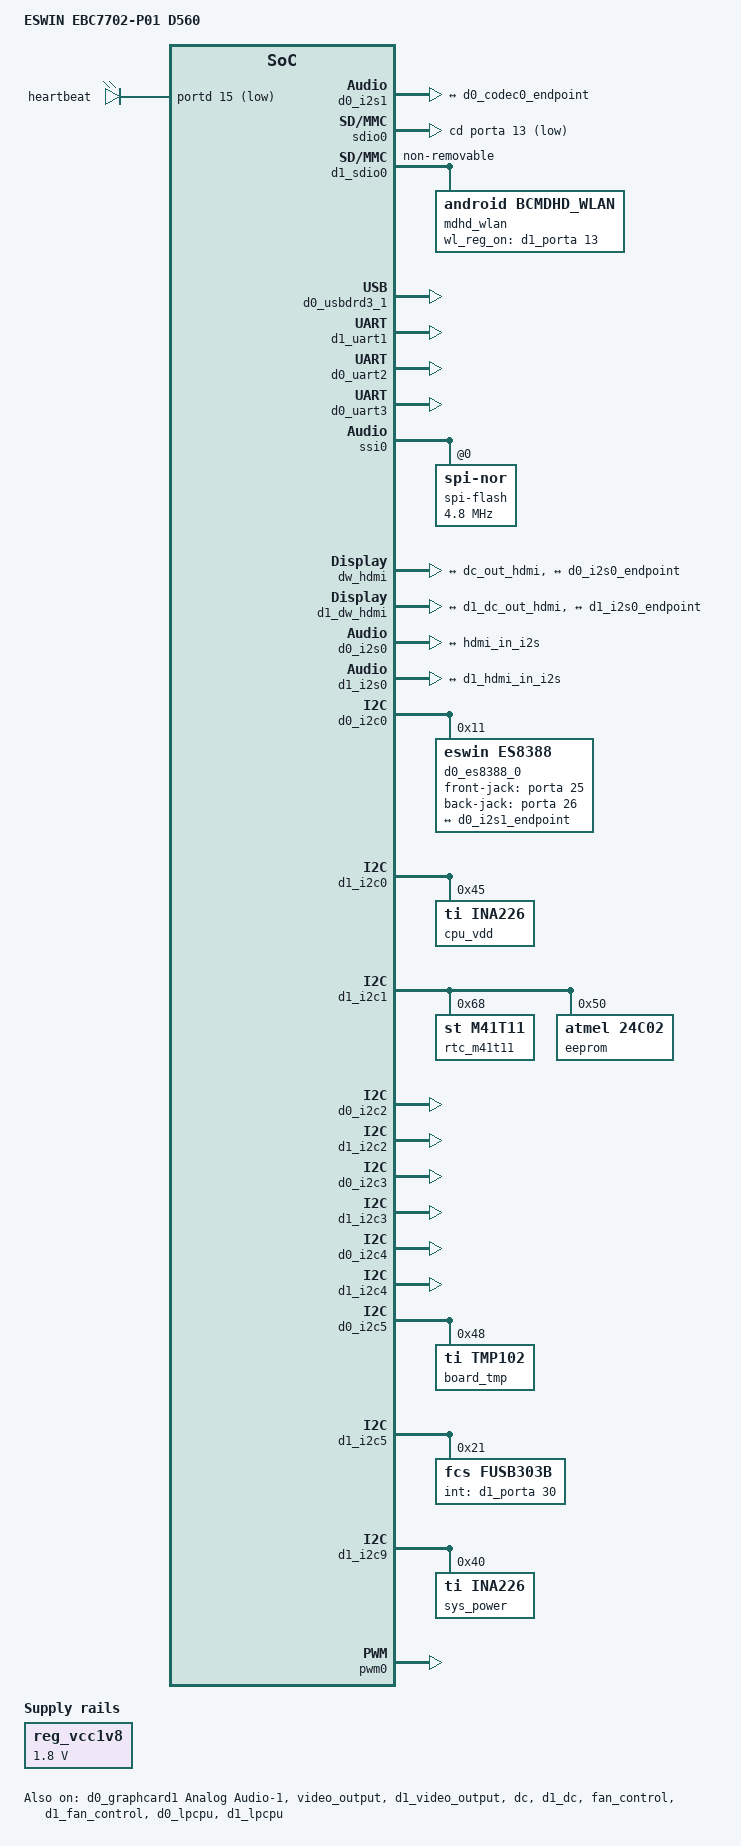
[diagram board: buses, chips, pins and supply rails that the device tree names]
// SPDX-License-Identifier: GPL-2.0
/*
 * Device Tree file for Eswin EIC7702 SoC.
 *
 * Copyright 2024, Beijing ESWIN Computing Technology Co., Ltd.. All rights reserved.
 * SPDX-License-Identifier: GPL-2.0
 *
 * This program is free software: you can redistribute it and/or modify
 * it under the terms of the GNU General Public License as published by
 * the Free Software Foundation, version 2.
 *
 * This program is distributed in the hope that it will be useful,
 * but WITHOUT ANY WARRANTY; without even the implied warranty of
 * MERCHANTABILITY or FITNESS FOR A PARTICULAR PURPOSE.  See the
 * GNU General Public License for more details.
 *
 * You should have received a copy of the GNU General Public License
 * along with this program.  If not, see <https://www.gnu.org/licenses/>.
 */

/dts-v1/;

#include "eic7702-som560.dtsi"

/ {
	#address-cells = <2>;
	#size-cells = <2>;
	model = "ESWIN EBC7702-P01 D560";

	reserved-memory {

		rpc_reserved:rpc_reserved@100000000 {
			reg = <0x1 0x0 0 0x1000>;
			no-map;
		};

		commu_reserved:commu_reserved@100001000 {
			reg = <0x1 0x1000 0 0x10000>;
			no-map;
		};

		kernel_debug_reserved:kernel_debug_reserved@100011000 {
			reg = <0x1 0x11000 0 0x100000>;
			no-map;
		};

		pgretire_reserved:pgretire_reserved@100111000 {
			reg = <0x1 0x111000 0 0x100000>;
			no-map;
		};

		configs_reserved:configs_reserved@100211000 {
			reg = <0x10 0x211000 0 0x1000>;
			no-map;
		};

		ipcm_vdev0vring0:vdev0vring0@100212000 {
			reg = <0x1 0x212000 0 0x100000>;
			no-map;
		};

		ipcm_vdev0vring1:vdev0vring1@100312000 {
			reg = <0x1 0x312000 0 0x100000>;
			no-map;
		};

		ipcm_vdev0buffer:vdev0buffer@100412000 {
			compatible = "shared-dma-pool";
			reg = <0x1 0x412000 0 0x4000000>; // pre is rx
			no-map;
		};

		rsc_table0:rsc_table0@104412000 {
			reg = <0x1 0x4412000 0 0x1000>;
			no-map;
		};

		version_table:version_table@104413000 {
			reg = <0x1 0x4413000 0 0x1000>;
			no-map;
		};

		bd_table:bd_table@104414000 {
			reg = <0x1 0x4414000 0 0x1000>;
			no-map;
		};

		share_memory {
			compatible = "eswin,shm";
			#address-cells = <2>;
			#size-cells = <2>;
			phys-base = <0x1 0x4415000>;
			virt-base = <0x1 0x4415000>;
			shm-size = <0xbbeb000>;
			reg = <0x1 0x4415000 0 0xbbeb000>;
		};

		/* die 1 share memory*/
		rpc_reserved1:rpc_reserved1@2080000000 {
			reg = <0x20 0x80000000 0 0x1000>;
			no-map;
		};

		commu_reserved1:commu_reserved1@2080001000 {
			reg = <0x20 0x80001000 0 0x10000>;
			no-map;
		};

		kernel_debug_reserved1:kernel_debug_reserved1@2080011000 {
			reg = <0x20 0x80011000 0 0x100000>;
			no-map;
		};

		pgretire_reserved1:pgretire_reserved1@2080111000 {
			reg = <0x20 0x80111000 0 0x100000>;
			no-map;
		};

		configs_reserved1:configs_reserved1@2080211000 {
			reg = <0x20 0x80211000 0 0x1000>;
			no-map;
		};

		ipcm_vdev1vring0:vdev1vring0@2080212000 {
			reg = <0x20 0x80212000 0 0x100000>;
			no-map;
		};

		ipcm_vdev1vring1:vdev1vring1@2080312000 {
			reg = <0x20 0x80312000 0 0x100000>;
			no-map;
		};

		ipcm_vdev1buffer:vdev1buffer@2080412000 {
			compatible = "shared-dma-pool";
			reg = <0x20 0x80412000 0 0x4000000>; // pre is rx
			no-map;
		};

		rsc_table1:rsc_table1@2084412000 {
			reg = <0x20 0x84412000 0 0x1000>;
			no-map;
		};

		version_table1:version_table@2084413000 {
			reg = <0x20 0x84413000 0 0x1000>;
			no-map;
		};

		bd_table1:bd_table@2084414000 {
			reg = <0x20 0x84414000 0 0x1000>;
			no-map;
		};

		share_memory1 {
			compatible = "eswin,shm";
			#address-cells = <2>;
			#size-cells = <2>;
			phys-base = <0x20 0x84415000>;
			virt-base = <0x20 0x84415000>;
			shm-size = <0xbbeb000>;
			reg = <0x20 0x84415000 0 0xbbeb000>;
		};
	};

	soc {
		d0_ipcm:ipcm@0 {
			compatible = "eswin,ipcm", "simple-bus";
			#address-cells = <2>;
			#size-cells = <2>;
			vf_id = <0>;
			numa-node-id = <0>;
			memory-region = <&ipcm_vdev0vring0>,<&ipcm_vdev0vring1>,<&ipcm_vdev0buffer>;
			interrupt-parent = <&plic0>;
			interrupts = <119>;
		  	smmu_dev = <&smmu_cfg_0>;
		};

		d1_ipcm:ipcm@1 {
			compatible = "eswin,ipcm", "simple-bus";
			#address-cells = <2>;
			#size-cells = <2>;
			vf_id = <0>;
			numa-node-id = <1>;
			memory-region = <&ipcm_vdev1vring0>,<&ipcm_vdev1vring1>,<&ipcm_vdev1buffer>;
			interrupt-parent = <&plic1>;
			interrupts = <119>;
			smmu_dev = <&smmu_cfg_1>;
		};

		dev_smmu_cfg: smmu_cfg@0 {
			compatible = "eswin,vpu7702_dev_smmu_cfg";
			#size-cells = <2>;
			dma-ranges = <0x0 0x20000000 0x0 0xc0000000 0x0 0xc0000000>;
			iommus = <&smmu0 WIN2030_SID_DEV_FOO_B>;
			iommu-map = <0x000000 &smmu0 0xff0000 0xffffff>;
			tbus = <WIN2030_TBUID_PCIE>;
			status = "okay";
			numa-node-id = <0>;
			dma-noncoherent;
                        #include "smmu_cfg.dtsi"
		};

		dev_smmu_cfg_d1: smmu_cfg@1 {
			compatible = "eswin,vpu7702_dev_smmu_cfg";
			#size-cells = <2>;
			dma-ranges = <0x0 0x80000000 0x0 0xc0000000 0x0 0xc0000000>;
			iommus = <&smmu1 WIN2030_SID_DEV_FOO_B>;
			iommu-map = <0x000000 &smmu1 0xff0000 0xffffff>;
			tbus = <WIN2030_TBUID_PCIE>;
			status = "okay";
			numa-node-id = <1>;
			dma-noncoherent;
			#include "smmu_cfg_die1.dtsi"
		};
	};

	/* die0 gpio111 system led */
	leds {
		compatible = "gpio-leds";
		pinctrl-names = "default";
		pinctrl-0 = <&pinctrl_die0_gpio111_default>;

		gpio-111 {
			gpios = <&portd 15 GPIO_ACTIVE_LOW>;
			label = "heartbeat";
			linux,default-trigger = "heartbeat";
		};
	};
	reg_vcc1v8: vcc1v8 {
		compatible = "regulator-fixed";
		regulator-name = "vcc1v8";
		regulator-min-microvolt = <1800000>;
		regulator-max-microvolt = <1800000>;
	};
};

&d0_i2s1 {
	status = "okay";
	numa-node-id = <0>;
	d0_i2s1_port: port {
		d0_i2s1_endpoint: endpoint {
			remote-endpoint = <&d0_codec0_endpoint>;
			dai-format = "i2s";
		};
	};
};

&sdio0 {
	/* sd card */
	status = "okay";
	delay_code = <0x55>;
	drive-impedance-ohm = <33>;
	enable-cmd-pullup;
	enable-data-pullup;
	disable-wp;
	no-sdio;
	no-mmc;
	pinctrl-names = "default";
	pinctrl-0 = <&pinctrl_die0_gpio13_default>;
	cd-gpios = <&porta 13 GPIO_ACTIVE_LOW>;
};

&d1_sdio0 {
	/* wifi module */
	status = "okay";
	delay_code = <0x29>;
	drive-impedance-ohm = <33>;
	enable-cmd-pullup;
	enable-data-pullup;
	keep-power-in-suspend;
	non-removable;
	no-sd;
	no-mmc;
	vqmmc-supply = <&reg_vcc1v8>;
	mdhd_wlan {
		compatible = "android,bcmdhd_wlan";
		pinctrl-names = "default";
		pinctrl-0 = <&pinctrl_die1_gpio13_default>;
		gpio_wl_reg_on = <&d1_porta 13 GPIO_ACTIVE_HIGH>;
	};
};

&d0_usbdrd3_1 {
	status = "okay";
	pinctrl-names = "default";
	pinctrl-0 = <&pinctrl_die0_gpio14_default>;
	hub-rst-gpios = <&porta 14 GPIO_ACTIVE_HIGH>;
};

&d1_uart1 {
	/* BT M.2 KEY-E */
	status = "okay";
};

&d0_uart2 {
	/* connect mcu */
	status = "okay";
};

&d1_uart2 {
	/* unused */
	status = "disabled";
};

&d0_uart3 {
	/* pin header */
	status = "okay";
	pinctrl-names = "default";
	pinctrl-0 = <&pinctrl_die0_uart3_default>;
};

&ssi0 {
	/* pin header */
	status = "okay";
	pinctrl-names = "default";
	pinctrl-0 = <&pinctrl_die0_dual_spi1_default>;
	num-cs = <1>;
	spi-flash@0 {
		compatible = "jedec,spi-nor";
		reg = <0>;
		#address-cells = <1>;
		#size-cells = <1>;
		spi-max-frequency = <4800000>;
		rx-sample-delay-ns = <10>;
	};
};
&d1_ssi0 {
	/* unused */
	status = "disabled";
};

&d0_graphcard1 {
	status = "okay";
	label = "Analog Audio-1";
	dais = <&d0_i2s1_port>;
};

&video_output {
	status = "okay";
};

&d1_video_output {
	status = "okay";
};

&dc {
	status = "okay";
	dc_out: port {
		#address-cells = <1>;
		#size-cells = <0>;
		dc_out_dpi1: endpoint@1 {
			reg = <1>;
			remote-endpoint = <&vd_input>;
		};
		dc_out_hdmi: endpoint@2 {
			reg = <2>;
			remote-endpoint = <&hdmi_in_dc>;
		};
	};
};

&d1_dc {
	status = "okay";
	d1_dc_out: port {
		#address-cells = <1>;
		#size-cells = <0>;
		d1_dc_out_dpi1: endpoint@1 {
			reg = <1>;
			remote-endpoint = <&d1_vd_input>;
		};
		d1_dc_out_hdmi: endpoint@2 {
			reg = <2>;
			remote-endpoint = <&d1_hdmi_in_dc>;
		};
	};
};

&dw_hdmi {
	status = "okay";
	ports {
		#address-cells = <1>;
		#size-cells = <0>;
		port@0 {
			reg = <0>;
			hdmi_in_dc: endpoint@0 {
				remote-endpoint = <&dc_out_hdmi>;
			};
		};
		port@2 {
			reg = <2>;
			hdmi_in_i2s: endpoint@1 {
				system-clock-frequency = <12288000>;
				remote-endpoint = <&d0_i2s0_endpoint>;
			};
		};
	};
};


&d1_dw_hdmi {
	status = "okay";
	ports {
		#address-cells = <1>;
		#size-cells = <0>;
		port@0 {
			reg = <0>;
			d1_hdmi_in_dc: endpoint@0 {
				remote-endpoint = <&d1_dc_out_hdmi>;
			};
		};
		port@2 {
			reg = <2>;
			d1_hdmi_in_i2s: endpoint@1 {
				system-clock-frequency = <12288000>;
				remote-endpoint = <&d1_i2s0_endpoint>;
			};
		};
	};
};

&d0_i2s0 {
	status = "okay";
	numa-node-id = <0>;
	d0_i2s0_port: port {
		d0_i2s0_endpoint: endpoint {
			remote-endpoint = <&hdmi_in_i2s>;
			dai-format = "i2s";
		};
	};
};

&d1_i2s0 {
	status = "okay";
	numa-node-id = <1>;
	d1_i2s0_port: port {
		d1_i2s0_endpoint: endpoint {
			remote-endpoint = <&d1_hdmi_in_i2s>;
			dai-format = "i2s";
		};
	};
};

&d0_i2c0 {
	/* codec es8388 */
	status = "okay";
	d0_es8388_0: es8388-0@11 {
		compatible = "eswin,es8388";
		reg = <0x11>;
		#sound-dai-cells = <0>;
		eswin-plat = <2>;
		pinctrl-names = "default";
		pinctrl-0 = <&pinctrl_die0_gpio25_default &pinctrl_die0_gpio26_default>;
		front-jack-gpios = <&porta 25 GPIO_ACTIVE_HIGH>;
		back-jack-gpios = <&porta 26 GPIO_ACTIVE_HIGH>;
		port {
			d0_codec0_endpoint: endpoint {
				system-clock-frequency = <12288000>;
				remote-endpoint = <&d0_i2s1_endpoint>;
			};
		};
	};
};

&d1_i2c0 {
	/* power monitor(ina236) */
	status = "okay";
	ina226@45 {
		compatible = "ti,ina226";
		#io-channel-cells = <1>;
		label = "cpu_vdd";
		reg = <0x45>;
		shunt-resistor = <1000>;
	};
};

&fan_control {
	status = "okay";
};

&d1_fan_control {
	pinctrl-0 = <&pinctrl_die1_fan_tach_default &pinctrl_die1_pwm0_default
				&pinctrl_die1_pwm1_default &pinctrl_die1_pwm2_default>;
	status = "okay";
	fan-0 {
		label = "d1_fan";
		pwms = <&d1_pwm0 0 100000 0>;
		status = "okay";
	};
	fan-1 {
		label = "chassis_fan1";
		pwms = <&d1_pwm0 1 100000 0>;
		status = "okay";
	};
	fan-2 {
		label = "chassis_fan2";
		pwms = <&d1_pwm0 2 100000 0>;
		status = "okay";
	};
};

&d0_i2c1 {
	/* unused */
	status = "disabled";
};
&d1_i2c1 {
	/* eeprom(at24c02c) & rtc(rs4c411) */
	status = "okay";
	rtc_m41t11: m41t11@68 {
		compatible = "st,m41t11";
		reg = <0x68>;
	};
	eeprom@50 {
		compatible = "atmel,24c02";
		reg = <0x50>;
	};
};

&d0_i2c2 {
	/* d0 dsi*/
	status = "ok";
};

&d1_i2c2 {
	/* d1 dsi */
	status = "ok";
};

&d0_i2c3 {
	/* d0 csi0-1 */
	status = "okay";
};
&d1_i2c3 {
	/* d1 csi0-1 */
	status = "okay";
};

&d0_i2c4 {
	/* d0 csi2-3 */
	status = "okay";
};

&d1_i2c4 {
	/* d1 csi2-3 */
	status = "okay";
};

&d0_i2c5 {
	/* pin header */
	status = "okay";
	tmp102@48 {
		compatible = "ti,tmp102";
		reg = <0x48>;
		label = "board_tmp";
		#thermal-sensor-cells = <1>;
	};
};
&d1_i2c5 {
	/* cc logic fusb303b */
	fusb303b@21 {
		compatible = "fcs,fusb303b";
		status = "okay";
		reg = <0x21>;
		eswin,syscfg = <&d1_sys_con 0x3C0 12>;

		pinctrl-names = "default";
		pinctrl-0 = <&pinctrl_die1_gpio30_default>;
		int-gpios = <&d1_porta 30 GPIO_ACTIVE_HIGH>;
		connector {
			compatible = "usb-c-connector";
			label = "USB-C";
			data-role = "host";
		};
	};
};

&d0_i2c8 {
	/* unused */
	status = "disabled";
};
&d1_i2c8 {
	/* unused */
	status = "disabled";
};

&d0_i2c9 {
	/* unused */
	status = "disabled";
};
&d1_i2c9 {
	/* pin header */
	status = "okay";
	sys_power:ina226@40 {
		compatible = "ti,ina226";
		#io-channel-cells = <1>;
		label = "sys_power";
		reg = <0x40>;
		shunt-resistor = <1000>;
	};
};

&wdt0 {
	status = "disabled";
};
&d1_wdt0 {
	status = "disabled";
};

&wdt1 {
	status = "disabled";
};
&d1_wdt1 {
	status = "disabled";
};

&wdt2 {
	status = "disabled";
};
&d1_wdt2 {
	status = "disabled";
};

&wdt3 {
	status = "disabled";
};
&d1_wdt3 {
	status = "disabled";
};

&timer1 {
	status = "disabled";
};
&d1_timer1 {
	status = "disabled";
};

&pwm0 {
	status = "okay";
};

&d0_lpcpu {
	/delete-property/ mboxes;
	status = "okay";
};
&d1_lpcpu {
	/delete-property/ mboxes;
	status = "okay";
};

&d0_mbox1 {
	status = "disabled";
};
&d1_mbox1 {
	status = "disabled";
};

&pcie {
	status = "disabled";
};

&d1_pcie {
	status = "disabled";
};

&pinctrl {
	/* pin header */
	status = "okay";
	pinctrl-names = "default";
	pinctrl-0 = <&pinctrl_die0_gpio6_default &pinctrl_die0_gpio12_default &pinctrl_die0_gpio39_default 
				&pinctrl_die0_gpio40_default &pinctrl_die0_gpio41_default &pinctrl_die0_gpio46_default
				&pinctrl_die0_gpio47_default &pinctrl_die0_gpio73_default &pinctrl_die0_gpio74_default
				&pinctrl_die0_gpio75_default &pinctrl_die0_gpio81_default>;

};

&d1_pinctrl {
	/* pin header */
	status = "okay";
	pinctrl-names = "default";
	pinctrl-0 = <&pinctrl_die1_gpio36_default &pinctrl_die1_gpio39_default
				&pinctrl_die1_gpio92_default &pinctrl_die1_gpio93_default
				&pinctrl_die1_gpio18_default>;
};

/******** pin headers *********
     pin : function
       3 : D0 I2C5 SDA
       5 : D0 I2C5 SCL
       7 : D0 GPIO46
       8 : D0 UART3 TX
      10 : D0 UART3 RX
      11 : D0 GPIO6
      12 : D0 GPIO12
      13 : D0 GPIO5 (x)
      15 : D0 GPIO81
      16 : D0 GPIO47
      18 : D0 SPI1 D3(GPIO40)
      19 : D0 SPI1 D0
      21 : D0 SPI1 D1
      22 : D0 SPI1 D2(GPIO39)
      23 : D0 SPI1 CLK
      24 : D0 SPI1 CS0
      26 : D0 SPI1 CS1(GPIO41)
      27 : D1 I2C9 SDA
      28 : D1 I2C9 SCL
      29 : D1 GPIO93
      31 : D1 GPIO92
      32 : D1 GPIO35 (x)
      33 : D1 GPIO36
      35 : D1 GPIO39
      36 : D0 GPIO79 (x)
      37 : D0 GPIO74
      38 : D0 GPIO75
      40 : D0 GPIO73
*********************************/



/* die0 GPIO Function Description

	gpio0   : pcie prstn(I)
	gpio11  : tmp alert(I)
	gpio13  : tf card detect(I)
	gpio18  : ina226 alert(I)
	gpio25  : front panel audio insert detection(I)
	gpio27  : sata act(O)
	gpio28  : to mcu pb5
	gpio29  : gphy0 resetn(O)
	gpio34  : gphy1 resetn(O)
	gpio42  : usb0 pwren(O)
	gpio43  : usb1 pwren(O)
	gpio111 : sys run led(O)
*/
/* die1 GPIO Function Description

	gpio0   : pcie prstn(I)
	gpio5   : classis fan1 fantach
	gpio6   : classis fan2 fantach
	gpio27  : to mcu pb3
	gpio28  : to mcu pb4
	gpio29  : gphy0 resetn(O)
	gpio34  : gphy1 resetn(O)
	gpio42  : usb0 pwren(O)
	gpio43  : usb1 pwren(O)
*/
